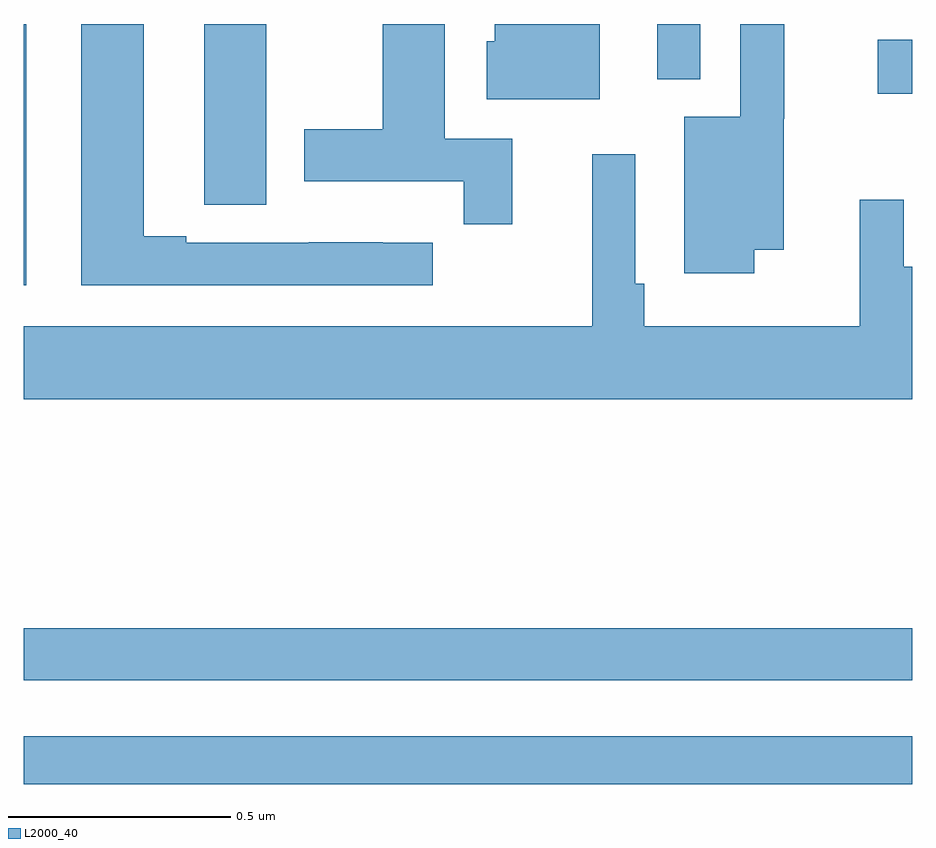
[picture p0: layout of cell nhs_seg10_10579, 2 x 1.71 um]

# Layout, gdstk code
import gdstk
lib = gdstk.Library(unit=1e-6, precision=1e-09)
def R(c, l, rs):  # rectangles x0, y0, x1, y1
    for r in rs: c.add(gdstk.rectangle(r[:2], r[2:], *l))
def P(c, l, *ps):  # polygons
    for p in ps: c.add(gdstk.Polygon(p, *l))
L2000_40 = (2000, 40)

nhs_seg10_10579 = lib.new_cell('nhs_seg10_10579')
R(nhs_seg10_10579, L2000_40, [(244,1292.79,246,1292.898), (244,1293.024,246,1293.14), (244,1293.912,244.006,1294.5), (245.922,1294.343,246,1294.465), (245.426,1294.376,245.523,1294.5)])
P(nhs_seg10_10579, L2000_40, [(244.546,1294.5),(244.406,1294.5),(244.406,1294.201),(244.407,1294.201),(244.407,1294.093),(244.546,1294.093)],
  [(245.296,1294.5),(245.06,1294.5),(245.06,1294.461),(245.042,1294.461),(245.042,1294.331),(245.296,1294.331)],
  [(244.921,1294.008),(244.808,1294.008),(244.808,1294.009),(244.642,1294.009),(244.642,1294.008),(244.366,1294.008),(244.366,1294.023),(244.27,1294.023),(244.27,1294.5),(244.13,1294.5),(244.13,1293.912),(244.921,1293.912)],
  [(245.644,1293.992),(245.71,1293.992),(245.71,1294.287),(245.711,1294.287),(245.711,1294.5),(245.613,1294.5),(245.613,1294.291),(245.486,1294.291),(245.486,1293.939),(245.644,1293.939)],
  [(245.099,1294.242),(244.948,1294.242),(244.948,1294.5),(244.808,1294.5),(244.808,1294.263),(244.631,1294.263),(244.631,1294.146),(244.99,1294.146),(244.99,1294.05),(245.099,1294.05)],
  [(246,1293.82),(245.999,1293.82),(245.999,1293.954),(245.98,1293.954),(245.98,1294.105),(245.881,1294.105),(245.881,1293.82),(245.396,1293.82),(245.396,1293.916),(245.376,1293.916),(245.376,1294.207),(245.279,1294.207),(245.279,1293.82),(244,1293.82),(244,1293.656),(246,1293.656)])

lib.write_gds('nhs_seg10_10579.gds')
